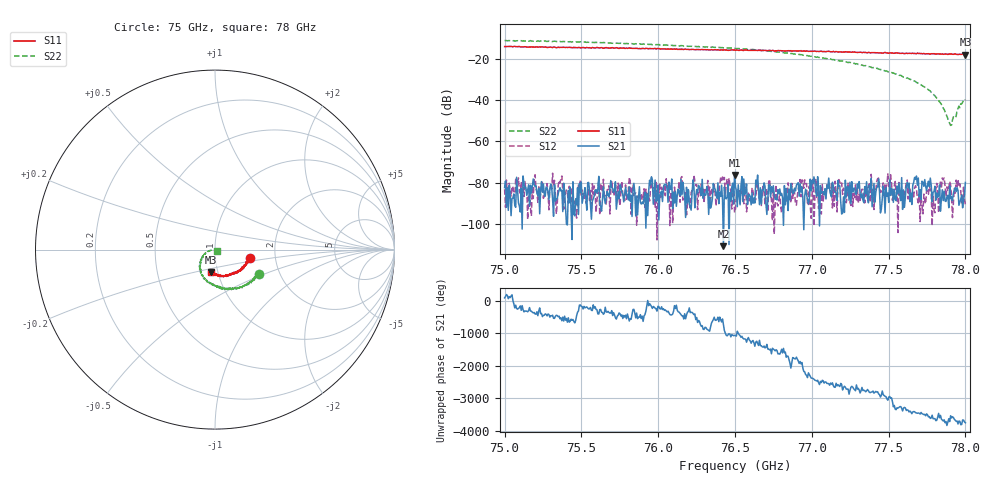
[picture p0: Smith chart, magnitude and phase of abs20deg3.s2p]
# Hz S MA R 50
! CMT, C4420, 21421029, 25.1.2/3
! Date: 8/7/2025 1:32:49 PM
! Data: Format (Calibration Info)
! Freq	S33:Mag/Ang(F2)	S43:Mag/Ang(F2)	S34:Mag/Ang(F2)	S44:Mag/Ang(F2)
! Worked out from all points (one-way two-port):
!   500 points, 75 GHz to 78 GHz, reference 50 ohm
!   highest |S21| = -76.26 dB at 76.497 GHz (marker M1); lowest = -110.8 dB at 76.425 GHz (marker M2)
!   lowest |S11| = -17.9 dB at 78 GHz (marker M3), VSWR 1.29, Z = 46.3 - j11.8 ohm
!   |S11| at or under -10 dB: start of sweep to end of sweep
!   |S22| runs from -52.2 to -11.1 dB; largest |S21 - S12| = 0.00022
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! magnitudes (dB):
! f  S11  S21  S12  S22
! 75 GHz  -14.0  -82.4  -83.2  -11.1
! 75.505 GHz  -14.5  -90.0  -83.6  -11.8
! 75.968 GHz  -15.1  -90.4  -82.5  -13.1
! 76.004 GHz  -15.1  -98.1  -84.5  -13.0
! 76.142 GHz  -15.2  -86.2  -89.5  -13.7
! 76.389 GHz  -15.6  -80.1  -88.7  -14.5
! 76.425 GHz  -15.7  -110.8  -78.8  -14.6
! 76.497 GHz  -15.7  -76.3  -94.5  -14.8
! 76.503 GHz  -15.8  -81.8  -92.7  -15.0
! 76.972 GHz  -16.2  -87.9  -90.7  -18.4
! 77.002 GHz  -16.3  -78.8  -84.9  -18.7
! 77.477 GHz  -16.8  -94.7  -80.5  -25.8
! 77.501 GHz  -17.3  -89.6  -81.9  -26.4
! 77.531 GHz  -17.3  -89.5  -84.4  -26.9
! 77.651 GHz  -17.3  -90.6  -86.1  -30.3
! 77.681 GHz  -17.5  -76.8  -82.7  -31.4
! 77.711 GHz  -17.4  -88.1  -87.1  -32.6
! 77.76 GHz  -17.5  -79.3  -85.6  -35.0
! 77.838 GHz  -17.6  -93.8  -79.0  -41.3
! 77.898 GHz  -17.6  -81.5  -79.3  -51.3
! 77.916 GHz  -17.7  -88.7  -97.0  -49.6
! 78 GHz  -17.9  -79.9  -90.6  -39.7
